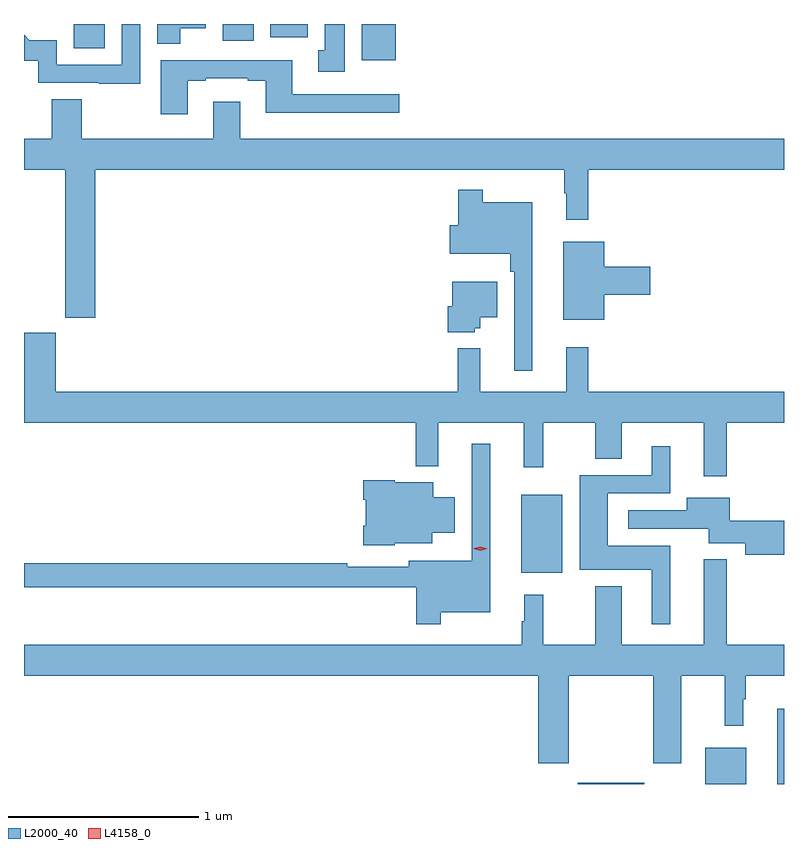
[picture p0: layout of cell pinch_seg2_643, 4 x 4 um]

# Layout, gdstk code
import gdstk
lib = gdstk.Library(unit=1e-6, precision=1e-09)
def R(c, l, rs):  # rectangles x0, y0, x1, y1
    for r in rs: c.add(gdstk.rectangle(r[:2], r[2:], *l))
def P(c, l, *ps):  # polygons
    for p in ps: c.add(gdstk.Polygon(p, *l))
L2000_40 = (2000, 40)
L4158_0 = (4158, 0)

pinch_seg2_643 = lib.new_cell('pinch_seg2_643')
R(pinch_seg2_643, L2000_40, [(1037.588,591.123,1037.938,591.13), (1038.26,591.123,1038.475,591.313), (1038.638,591.123,1038.674,591.52), (1037.291,592.235,1037.506,592.645), (1036.451,594.932,1036.63,595.123), (1034.936,594.996,1035.1,595.123), (1035.719,595.035,1035.883,595.123), (1035.971,595.052,1036.168,595.123)])
P(pinch_seg2_643, L2000_40, [(1035.496,595.1),(1035.631,595.1),(1035.631,595.123),(1035.374,595.123),(1035.374,595.018),(1035.496,595.018)],
  [(1036.363,595.123),(1036.256,595.123),(1036.256,594.986),(1036.223,594.986),(1036.223,594.873),(1036.363,594.873)],
  [(1035.285,595.123),(1035.189,595.123),(1035.189,594.909),(1034.847,594.909),(1034.847,595.038),(1034.702,595.038),(1034.674,595.066),(1034.674,594.93),(1034.749,594.93),(1034.749,594.813),(1035.067,594.813),(1035.067,594.808),(1035.285,594.808)],
  [(1035.535,594.825),(1035.631,594.825),(1035.631,594.837),(1035.851,594.837),(1035.851,594.825),(1035.947,594.825),(1035.947,594.656),(1036.648,594.656),(1036.648,594.753),(1036.087,594.753),(1036.087,594.933),(1035.395,594.933),(1035.395,594.648),(1035.535,594.648)],
  [(1035.05,594.356),(1037.517,594.356),(1037.517,594.233),(1037.528,594.233),(1037.528,594.093),(1037.645,594.093),(1037.645,594.356),(1038.674,594.356),(1038.674,594.52),(1035.811,594.52),(1035.811,594.715),(1035.671,594.715),(1035.671,594.52),(1034.978,594.52),(1034.978,594.728),(1034.819,594.728),(1034.819,594.52),(1034.674,594.52),(1034.674,594.356),(1034.89,594.356),(1034.89,593.577),(1035.05,593.577)],
  [(1037.35,594.184),(1037.089,594.184),(1037.089,594.25),(1036.96,594.25),(1036.96,594.063),(1036.916,594.063),(1036.916,593.915),(1037.233,593.915),(1037.233,593.819),(1037.253,593.819),(1037.253,593.298),(1037.35,593.298)],
  [(1037.728,593.699),(1037.971,593.699),(1037.971,593.846),(1037.728,593.846),(1037.728,593.977),(1037.513,593.977),(1037.513,593.567),(1037.728,593.567)],
  [(1037.046,593.523),(1037.074,593.523),(1037.074,593.579),(1037.164,593.579),(1037.164,593.767),(1036.928,593.767),(1036.928,593.637),(1036.904,593.637),(1036.904,593.501),(1037.046,593.501)],
  [(1038.373,593.024),(1038.674,593.024),(1038.674,593.188),(1037.645,593.188),(1037.645,593.422),(1037.528,593.422),(1037.528,593.188),(1037.075,593.188),(1037.075,593.416),(1036.957,593.416),(1036.957,593.188),(1034.842,593.188),(1034.842,593.497),(1034.674,593.497),(1034.674,593.024),(1036.735,593.024),(1036.735,592.796),(1036.853,592.796),(1036.853,593.024),(1037.305,593.024),(1037.305,592.791),(1037.408,592.791),(1037.408,593.024),(1037.681,593.024),(1037.681,592.834),(1037.821,592.834),(1037.821,593.024),(1038.251,593.024),(1038.251,592.743),(1038.373,592.743)],
  [(1036.867,592.028),(1037.128,592.028),(1037.128,592.915),(1037.031,592.915),(1037.031,592.297),(1036.698,592.297),(1036.698,592.266),(1036.376,592.266),(1036.376,592.286),(1034.674,592.286),(1034.674,592.158),(1036.738,592.158),(1036.738,591.963),(1036.867,591.963)],
  [(1038.076,592.378),(1037.746,592.378),(1037.746,592.653),(1038.076,592.653),(1038.076,592.9),(1037.978,592.9),(1037.978,592.749),(1037.6,592.749),(1037.6,592.25),(1037.978,592.25),(1037.978,591.963),(1038.076,591.963)],
  [(1036.626,592.391),(1036.822,592.391),(1036.822,592.445),(1036.942,592.445),(1036.942,592.633),(1036.828,592.633),(1036.828,592.711),(1036.626,592.711),(1036.626,592.723),(1036.46,592.723),(1036.46,592.619),(1036.472,592.619),(1036.472,592.483),(1036.46,592.483),(1036.46,592.379),(1036.626,592.379)],
  [(1038.674,592.508),(1038.388,592.508),(1038.388,592.63),(1038.161,592.63),(1038.161,592.563),(1037.853,592.563),(1037.853,592.467),(1038.278,592.467),(1038.278,592.391),(1038.47,592.391),(1038.47,592.33),(1038.674,592.33)],
  [(1037.381,591.231),(1037.541,591.231),(1037.541,591.692),(1037.986,591.692),(1037.986,591.231),(1038.133,591.231),(1038.133,591.692),(1038.361,591.692),(1038.361,591.429),(1038.46,591.429),(1038.46,591.569),(1038.472,591.569),(1038.472,591.692),(1038.674,591.692),(1038.674,591.856),(1038.373,591.856),(1038.373,592.306),(1038.251,592.306),(1038.251,591.856),(1037.821,591.856),(1037.821,592.165),(1037.681,592.165),(1037.681,591.856),(1037.408,591.856),(1037.408,592.12),(1037.306,592.12),(1037.306,591.98),(1037.295,591.98),(1037.295,591.856),(1034.674,591.856),(1034.674,591.692),(1037.381,591.692)])
P(pinch_seg2_643, L4158_0, [(1037.076,592.351),(1037.042,592.362),(1037.041,592.363),(1037.042,592.363),(1037.077,592.371),(1037.112,592.36),(1037.112,592.36),(1037.112,592.36)])

lib.write_gds('pinch_seg2_643.gds')
